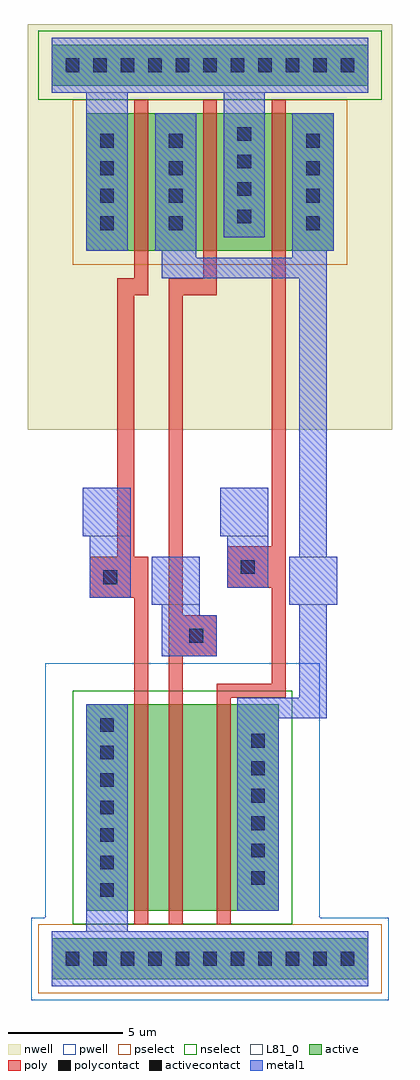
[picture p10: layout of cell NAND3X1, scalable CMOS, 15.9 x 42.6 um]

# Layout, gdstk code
import gdstk
lib = gdstk.Library(unit=1e-6, precision=1e-09)
def R(c, l, rs):  # rectangles x0, y0, x1, y1
    for r in rs: c.add(gdstk.rectangle(r[:2], r[2:], *l))
def A(c, l, x, y, w, h, nx, ny, dx, dy):  # array of equal rectangles
    R(c, l, [(x+i*dx, y+j*dy, x+i*dx+w, y+j*dy+h) for i in range(nx) for j in range(ny)])
pwell = (41, 0)
nwell = (42, 0)
active = (43, 0)
pselect = (44, 0)
nselect = (45, 0)
poly = (46, 0)
polycontact = (47, 0)
activecontact = (48, 0)
metal1 = (49, 0)
L81_0 = (81, 0)

nand3x1 = lib.new_cell('NAND3X1')
R(nand3x1, pwell, [(-1.8,-1.8,13.8,1.8), (-1.2,1.8,10.8,12.9)])
R(nand3x1, nwell, [(-1.95,23.1,13.95,40.8)])
R(nand3x1, active, [(-0.9,-0.9,12.9,0.9), (0.6,2.1,9,11.1), (0.6,30.9,11.4,36.9), (-0.9,38.1,12.9,39.9)])
R(nand3x1, pselect, [(-1.5,-1.5,13.5,1.5), (0,30.3,12,37.5)])
R(nand3x1, nselect, [(0,1.5,9.6,11.7), (-1.5,37.5,13.5,40.5)])
R(nand3x1, poly, [(2.7,1.5,3.3,15.75), (4.2,1.5,4.8,13.2), (6.3,1.5,6.9,11.4), (6.3,11.4,9.3,12), (8.7,12,9.3,16.2), (4.2,13.2,6.3,15), (4.2,15,4.8,28.95), (0.75,15.75,3.3,17.55), (6.75,16.2,9.3,18), (1.95,17.55,2.7,28.95), (8.7,18,9.3,37.5), (1.95,28.95,3.3,29.7), (4.2,28.95,6.3,29.7), (2.7,29.7,3.3,37.5), (5.7,29.7,6.3,37.5)])
R(nand3x1, polycontact, [(5.1,13.8,5.7,14.4), (1.35,16.35,1.95,16.95), (7.35,16.8,7.95,17.4)])
A(nand3x1, activecontact, -0.3, -0.3, 0.6, 0.6, 11, 2, 1.2, 39)
A(nand3x1, activecontact, 1.2, 2.7, 0.6, 0.6, 1, 7, 0, 1.2)
A(nand3x1, activecontact, 7.8, 3.22, 0.6, 0.6, 1, 6, 0, 1.2)
A(nand3x1, activecontact, 1.2, 31.8, 0.6, 0.6, 1, 4, 0, 1.2)
A(nand3x1, activecontact, 4.2, 31.8, 0.6, 0.6, 1, 4, 0, 1.2)
A(nand3x1, activecontact, 10.2, 31.8, 0.6, 0.6, 1, 4, 0, 1.2)
A(nand3x1, activecontact, 7.2, 32.1, 0.6, 0.6, 1, 4, 0, 1.2)
R(nand3x1, metal1, [(-0.9,-1.2,12.9,1.2), (0.6,1.2,2.4,11.1), (7.2,2.1,9,10.5), (7.2,10.5,11.1,11.4), (9.9,11.4,11.1,15.45), (3.9,13.2,6.3,15), (3.9,15,5.55,15.45), (3.45,15.45,5.55,17.55), (9.45,15.45,11.55,17.55), (0.75,15.75,2.55,18.45), (6.75,16.2,8.55,18.45), (9.9,17.55,11.1,29.7), (0.45,18.45,2.55,20.55), (6.45,18.45,8.55,20.55), (3.9,29.7,11.1,30.6), (3.9,30.6,5.4,30.9), (9.6,30.6,11.1,30.9), (0.6,30.9,2.4,37.8), (3.6,30.9,5.4,36.9), (9.6,30.9,11.4,36.9), (6.6,31.5,8.4,37.8), (-0.9,37.8,12.9,40.2)])
R(nand3x1, L81_0, [(-0.9,-1.2,12.9,1.2), (3.45,15.45,5.55,17.55), (9.45,15.45,11.55,17.55), (0.45,18.45,2.55,20.55), (6.45,18.45,8.55,20.55), (-0.9,37.8,12.9,40.2)])

lib.write_gds('NAND3X1.gds')
